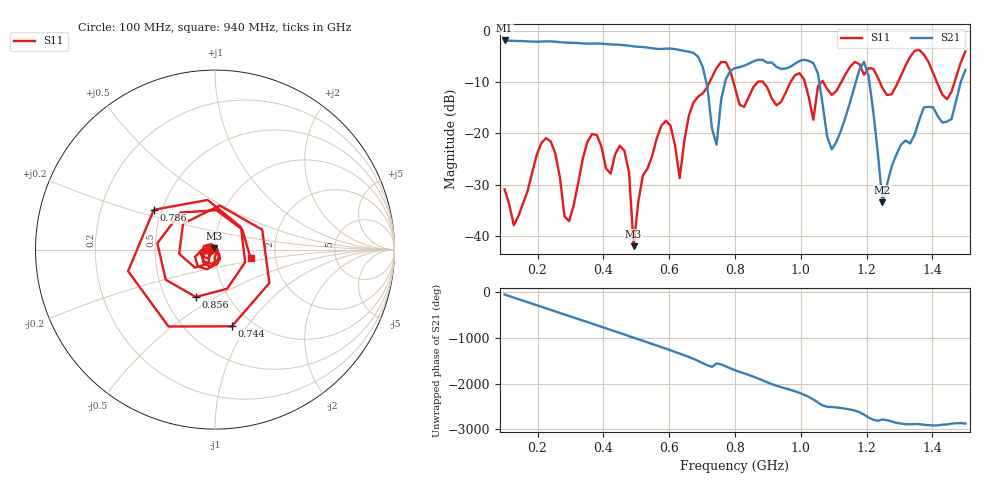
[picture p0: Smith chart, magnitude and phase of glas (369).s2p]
! NanoVNA-App
! Date: 2025-09-25 15:58:21
! Start: 100MHz Stop: 1,5GHz Points: 101
! S-Parameter data: F S11 S21 S12 S22
# Hz S RI R 50
!  Frequency  S11_Real  S11_Imag  S21_Real  S21_Imag  S12_Real  S12_Imag  S22_Real  S22_Imag
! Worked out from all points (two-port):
!   101 points, 100 MHz to 1.5 GHz, reference 50 ohm
!   highest |S21| = -1.80 dB at 100 MHz (marker M1); lowest = -33.4 dB at 1.248 GHz (marker M2)
!   |S21| within 3 dB of the highest: start of sweep to 684.3 MHz
!   lowest |S11| = -42.0 dB at 492 MHz (marker M3), VSWR 1.02, Z = 49.5 + j0.612 ohm
!   |S11| at or under -10 dB: start of sweep to 722.5 MHz; 795.4 MHz to 868 MHz (72.56 MHz wide, 8.72 % of centre); 886.2 MHz to 968.3 MHz (82.13 MHz wide, 8.86 % of centre) (the widest 3 of 7)
!   S12 and S22 are empty: the file has one direction only
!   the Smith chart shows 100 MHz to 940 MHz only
!   S11 on the Smith chart (normalised r, x): 100 MHz: 0.95, -0.01; 744 MHz: 0.81, -0.85; 786 MHz: 0.45, +0.24; 856 MHz: 0.71, -0.41; 940 MHz: 1.49, -0.15
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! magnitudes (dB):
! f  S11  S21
! 100 MHz  -30.9  -1.8
! 128 MHz  -37.9  -1.9
! 226 MHz  -20.9  -2.0
! 296 MHz  -37.1  -2.2
! 338 MHz  -24.8  -2.4
! 464 MHz  -23.4  -2.7
! 492 MHz  -42.0  -3.0
! 576 MHz  -18.5  -3.5
! 632 MHz  -28.7  -3.7
! 702 MHz  -12.1  -7.0
! 744 MHz  -7.2  -22.2
! 786 MHz  -7.8  -7.7
! 800 MHz  -11.1  -7.2
! 856 MHz  -10.9  -5.9
! 940 MHz  -13.8  -7.4
! 996 MHz  -8.2  -5.8
! 1.038 GHz  -17.3  -6.2
! 1.094 GHz  -12.4  -23.1
! 1.192 GHz  -8.5  -6.0
! 1.248 GHz  -11.1  -33.4
! 1.276 GHz  -12.3  -26.4
! 1.5 GHz  -4.0  -7.6
